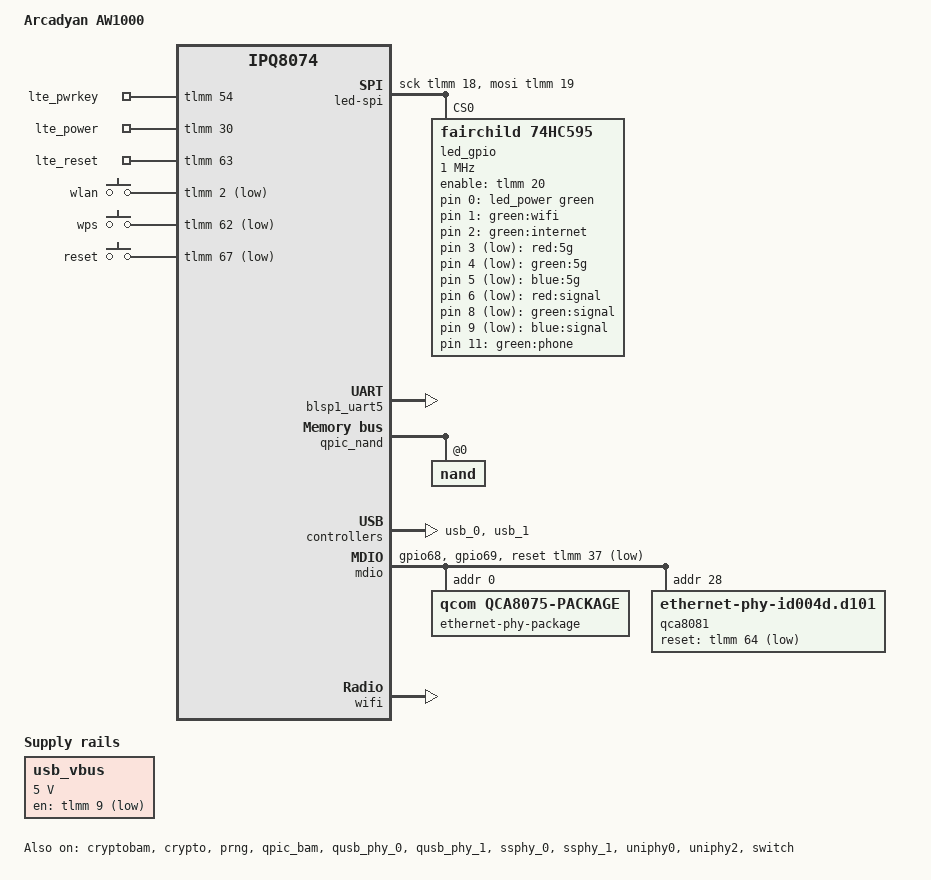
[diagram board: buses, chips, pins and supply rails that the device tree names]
// SPDX-License-Identifier: GPL-2.0-or-later OR MIT
/* Copyright (c) 2023, Chukun Pan <amadeus@jmu.edu.cn> */

/dts-v1/;

#include "ipq8074.dtsi"
#include "ipq8074-hk-cpu.dtsi"
#include "ipq8074-ess.dtsi"
#include <dt-bindings/gpio/gpio.h>
#include <dt-bindings/input/input.h>
#include <dt-bindings/leds/common.h>

/ {
	model = "Arcadyan AW1000";
	compatible = "arcadyan,aw1000", "qcom,ipq8074";

	aliases {
		led-boot = &led_power;
		led-failsafe = &led_power;
		led-running = &led_power;
		led-upgrade = &led_power;
		serial0 = &blsp1_uart5;
		/*
		 * Aliases as required by u-boot
		 * to patch MAC addresses
		 */
		ethernet0 = &swport1;
		ethernet1 = &swport2;
		ethernet2 = &swport3;
		ethernet3 = &swport4;
		ethernet4 = &swport6;
		label-mac-device = &swport1;
	};

	chosen {
		stdout-path = "serial0:115200n8";
		bootargs-append = " root=/dev/ubiblock0_1";
	};

	gpio-export {
		compatible = "gpio-export";

		lte-pwrkey {
			gpio-export,name = "lte_pwrkey";
			gpio-export,output = <1>;
			gpios = <&tlmm 54 GPIO_ACTIVE_HIGH>;
		};

		lte-power {
			gpio-export,name = "lte_power";
			gpio-export,output = <1>;
			gpios = <&tlmm 30 GPIO_ACTIVE_HIGH>;
		};

		lte-reset {
			gpio-export,name = "lte_reset";
			gpio-export,output = <1>;
			gpios = <&tlmm 63 GPIO_ACTIVE_HIGH>;
		};
	};

	keys {
		compatible = "gpio-keys";

		wlan {
			label = "wlan";
			linux,code = <KEY_WLAN>;
			gpios = <&tlmm 2 GPIO_ACTIVE_LOW>;
		};

		wps {
			label = "wps";
			linux,code = <KEY_WPS_BUTTON>;
			gpios = <&tlmm 62 GPIO_ACTIVE_LOW>;
		};

		reset {
			label = "reset";
			linux,code = <KEY_RESTART>;
			gpios = <&tlmm 67 GPIO_ACTIVE_LOW>;
		};
	};

	led-spi {
		compatible = "spi-gpio";
		#address-cells = <1>;
		#size-cells = <0>;

		sck-gpios = <&tlmm 18 GPIO_ACTIVE_HIGH>;
		mosi-gpios = <&tlmm 19 GPIO_ACTIVE_HIGH>;

		led_gpio: led-gpio@0 {
			compatible = "fairchild,74hc595";
			reg = <0>;
			gpio-controller;
			#gpio-cells = <2>;
			registers-number = <2>;
			spi-max-frequency = <1000000>;
			enable-gpios = <&tlmm 20 GPIO_ACTIVE_HIGH>;
		};
	};

	leds {
		compatible = "gpio-leds";

		led_power: power {
			function = LED_FUNCTION_POWER;
			color = <LED_COLOR_ID_GREEN>;
			gpios = <&led_gpio 0 GPIO_ACTIVE_HIGH>;
		};

		wifi {
			label = "green:wifi";
			gpios = <&led_gpio 1 GPIO_ACTIVE_HIGH>;
		};

		internet {
			label = "green:internet";
			gpios = <&led_gpio 2 GPIO_ACTIVE_HIGH>;
		};

		5g-red {
			label = "red:5g";
			gpios = <&led_gpio 3 GPIO_ACTIVE_LOW>;
		};

		5g-green {
			label = "green:5g";
			gpios = <&led_gpio 4 GPIO_ACTIVE_LOW>;
		};

		5g-blue {
			label = "blue:5g";
			gpios = <&led_gpio 5 GPIO_ACTIVE_LOW>;
		};

		signal-red {
			label = "red:signal";
			gpios = <&led_gpio 6 GPIO_ACTIVE_LOW>;
		};

		signal-green {
			label = "green:signal";
			gpios = <&led_gpio 8 GPIO_ACTIVE_LOW>;
		};

		signal-blue {
			label = "blue:signal";
			gpios = <&led_gpio 9 GPIO_ACTIVE_LOW>;
		};

		phone {
			label = "green:phone";
			gpios = <&led_gpio 11 GPIO_ACTIVE_HIGH>;
		};
	};

	usb_vbus: regulator-usb-vbus {
		compatible = "regulator-fixed";
		regulator-name = "usb_vbus";
		regulator-min-microvolt = <5000000>;
		regulator-max-microvolt = <5000000>;
		gpios = <&tlmm 9 GPIO_ACTIVE_LOW>;
		regulator-boot-on;
	};
};

&tlmm {
	mdio_pins: mdio-pins {
		mdc {
			pins = "gpio68";
			function = "mdc";
			drive-strength = <8>;
			bias-pull-up;
		};

		mdio {
			pins = "gpio69";
			function = "mdio";
			drive-strength = <8>;
			bias-pull-up;
		};
	};
};

&blsp1_uart5 {
	status = "okay";
};

&cryptobam {
	status = "okay";
};

&crypto {
	status = "okay";
};

&prng {
	status = "okay";
};

&qpic_bam {
	status = "okay";
};

&qpic_nand {
	status = "okay";

	nand@0 {
		reg = <0>;
		nand-ecc-strength = <8>;
		nand-ecc-step-size = <512>;
		nand-bus-width = <8>;

		partitions {
			compatible = "qcom,smem-part";
		};
	};
};

&qusb_phy_0 {
	status = "okay";
};

&qusb_phy_1 {
	status = "okay";

	vdd-supply = <&usb_vbus>;
};

&ssphy_0 {
	status = "okay";
};

&ssphy_1 {
	status = "okay";
};

&usb_0 {
	status = "okay";
};

&usb_1 {
	status = "okay";
};

&mdio {
	status = "okay";

	pinctrl-0 = <&mdio_pins>;
	pinctrl-names = "default";
	reset-gpios = <&tlmm 37 GPIO_ACTIVE_LOW>;

	ethernet-phy-package@0 {
		compatible = "qcom,qca8075-package";
		#address-cells = <1>;
		#size-cells = <0>;
		reg = <0>;

		qcom,package-mode = "qsgmii";

		qca8075_0: ethernet-phy@0 {
			compatible = "ethernet-phy-ieee802.3-c22";
			reg = <0>;
		};

		qca8075_1: ethernet-phy@1 {
			compatible = "ethernet-phy-ieee802.3-c22";
			reg = <1>;
		};

		qca8075_2: ethernet-phy@2 {
			compatible = "ethernet-phy-ieee802.3-c22";
			reg = <2>;
		};

		qca8075_3: ethernet-phy@3 {
			compatible = "ethernet-phy-ieee802.3-c22";
			reg = <3>;
		};
	};

	qca8081: ethernet-phy@28 {
		compatible = "ethernet-phy-id004d.d101";
		reg = <28>;
		reset-deassert-us = <10000>;
		reset-gpios = <&tlmm 64 GPIO_ACTIVE_LOW>;

		leds {
			#address-cells = <1>;
			#size-cells = <0>;

			led@2 {
				reg = <2>;
				active-low;
				color = <LED_COLOR_ID_GREEN>;
				function = LED_FUNCTION_WAN;
				default-state = "keep";
			};
		};
	};
};

&uniphy0 {
	status = "okay";
};

&uniphy2 {
	status = "okay";
};

&switch {
	status = "okay";

	ports {
		#address-cells = <1>;
		#size-cells = <0>;

		port@0 {
			reg = <0>;
			ethernet = <&edma>;
			phy-mode = "internal";

			fixed-link {
				speed = <1000>;
				full-duplex;
			};
		};

		swport1: port@1 {
			reg = <1>;
			label = "lan1";
			phy-handle = <&qca8075_0>;
			phy-mode = "qsgmii";
			pcs-handle = <&uniphy0 0>;
		};

		swport2: port@2 {
			reg = <2>;
			label = "lan2";
			phy-handle = <&qca8075_1>;
			phy-mode = "qsgmii";
			pcs-handle = <&uniphy0 1>;
		};

		swport3: port@3 {
			reg = <3>;
			label = "lan3";
			phy-handle = <&qca8075_2>;
			phy-mode = "qsgmii";
			pcs-handle = <&uniphy0 2>;
		};

		swport4: port@4 {
			reg = <4>;
			label = "lan4";
			phy-handle = <&qca8075_3>;
			phy-mode = "qsgmii";
			pcs-handle = <&uniphy0 3>;
		};

		swport6: port@6 {
			reg = <6>;
			label = "wan";
			phy-handle = <&qca8081>;
			phy-mode = "2500base-x";
			pcs-handle = <&uniphy2 0>;
		};
	};
};

&edma {
	status = "okay";
};

&wifi {
	status = "okay";

	qcom,ath11k-calibration-variant = "Arcadyan-AW1000";
};
